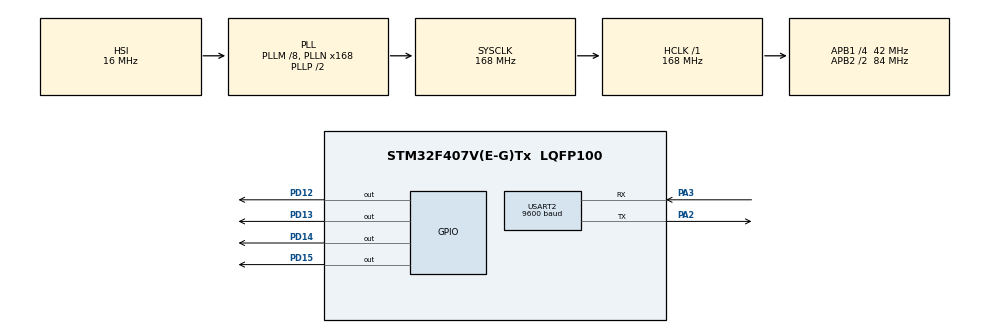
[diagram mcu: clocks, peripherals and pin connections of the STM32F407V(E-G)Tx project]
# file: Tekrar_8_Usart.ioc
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Mcu.Family=STM32F4
Mcu.Name=STM32F407V(E-G)Tx
Mcu.Package=LQFP100
NVIC.PriorityGroup=NVIC_PRIORITYGROUP_4
PA2.Mode=Asynchronous
PA2.Signal=USART2_TX
PA3.Mode=Asynchronous
PA3.Signal=USART2_RX
PD12.Signal=GPIO_Output
PD13.Signal=GPIO_Output
PD14.Signal=GPIO_Output
PD15.Signal=GPIO_Output
ProjectManager.HeapSize=0x200
ProjectManager.StackSize=0x400
ProjectManager.TargetToolchain=STM32CubeIDE
RCC.48MHZClocksFreq_Value=84000000
RCC.AHBFreq_Value=168000000
RCC.APB1CLKDivider=RCC_HCLK_DIV4
RCC.APB1Freq_Value=42000000
RCC.APB1TimFreq_Value=84000000
RCC.APB2CLKDivider=RCC_HCLK_DIV2
RCC.APB2Freq_Value=84000000
RCC.APB2TimFreq_Value=168000000
RCC.CortexFreq_Value=168000000
RCC.HCLKFreq_Value=168000000
RCC.HSE_VALUE=25000000
RCC.HSI_VALUE=16000000
RCC.LSE_VALUE=32768
RCC.PLLM=8
RCC.PLLN=168
RCC.SYSCLKFreq_VALUE=168000000
RCC.SYSCLKSource=RCC_SYSCLKSOURCE_PLLCLK
RCC.VCOOutputFreq_Value=336000000
USART2.BaudRate=9600
USART2.Mode=MODE_TX_RX
USART2.VirtualMode=VM_ASYNC
board=custom

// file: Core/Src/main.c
/* USER CODE BEGIN Header */
/**
  ******************************************************************************
  * @file           : main.c
  * @brief          : Main program body
  ******************************************************************************
  * @attention
  *
  * Copyright (c) 2023 STMicroelectronics.
  * All rights reserved.
  *
  * This software is licensed under terms that can be found in the LICENSE file
  * in the root directory of this software component.
  * If no LICENSE file comes with this software, it is provided AS-IS.
  *
  ******************************************************************************
  */
/* USER CODE END Header */
#include "main.h"

/* USER CODE BEGIN Includes */
#include <stdbool.h>
#include "string.h"
#include "stdio.h"  //sprintf icin lazim

/* USER CODE END Includes */

UART_HandleTypeDef huart2;

/* USER CODE BEGIN PV */

char tx_buff[50];
char rx_buff[50];
bool led_state=false;

/* USER CODE END PV */

void SystemClock_Config(void);
static void MX_GPIO_Init(void);
static void MX_USART2_UART_Init(void);

int main(void)
{

  /* MCU Configuration--------------------------------------------------------*/

  /* Reset of all peripherals, Initializes the Flash interface and the Systick. */
  HAL_Init();

  /* Configure the system clock */
  SystemClock_Config();

  /* Initialize all configured peripherals */
  MX_GPIO_Init();
  MX_USART2_UART_Init();
  /* USER CODE BEGIN 2 */

/*
  HAL_UART_Transmit(&huart2, (uint8_t*)tx_buff, sprintf(tx_buff, " ne yazsamki  \n "), 100);
  HAL_Delay(1000);
  HAL_UART_Transmit(&huart2, (uint8_t*)tx_buff, sprintf(tx_buff,"freddddddddddddd \n"), 100);
*/

  /* USER CODE END 2 */

  /* Infinite loop */
  while (1)
  {

    /* USER CODE BEGIN 3 */

	  HAL_UART_Receive(&huart2, (uint8_t*)rx_buff , 50, 100);
	  if(strncmp(rx_buff , "led12open", 9)==0)   //rx_buffer=led1open ise 0 verir
	  {
		  HAL_GPIO_WritePin(GPIOD, GPIO_PIN_12, GPIO_PIN_SET);

		  if ( led_state != true )
		  {
			  HAL_UART_Transmit(&huart2, (uint8_t*)tx_buff ,sprintf(tx_buff , "12.led yandi\n"), HAL_MAX_DELAY);
			  led_state=true;

		  }

	  }
	  else if(strncmp(rx_buff , "led12close" ,10)==0)
	         {
		       HAL_GPIO_WritePin(GPIOD, GPIO_PIN_12, GPIO_PIN_RESET);
		         if ( led_state != false )
		         {
		 			  HAL_UART_Transmit(&huart2, (uint8_t*)tx_buff ,sprintf(tx_buff , "12.led sondu\n"),HAL_MAX_DELAY );
		 			  led_state=false;

		         }
	         }

  else if(strncmp(rx_buff , "led13open",9 )==0)   //rx_buffer=led1open ise 0 verir
		  {
			  HAL_GPIO_WritePin(GPIOD, GPIO_PIN_13, GPIO_PIN_SET);

			  if ( led_state != true )
			  {
				  HAL_UART_Transmit(&huart2, (uint8_t*)tx_buff ,sprintf(tx_buff , "13.led yandi\n"), HAL_MAX_DELAY);
				  led_state=true;

			  }

		  }
		  else if(strncmp(rx_buff, "led13close" ,10) == 0)
		  {
			  HAL_GPIO_WritePin(GPIOD, GPIO_PIN_13, GPIO_PIN_RESET);
			  if ( led_state != false )
			  {
			 			  HAL_UART_Transmit(&huart2, (uint8_t*)tx_buff ,sprintf(tx_buff , "13.led sondu\n"), HAL_MAX_DELAY);
			 			  led_state=false;

			  }
	  }

  }
  /* USER CODE END 3 */
}

void SystemClock_Config(void)
{
  RCC_OscInitTypeDef RCC_OscInitStruct = {0};
  RCC_ClkInitTypeDef RCC_ClkInitStruct = {0};

  /** Configure the main internal regulator output voltage
  */
  __HAL_RCC_PWR_CLK_ENABLE();
  __HAL_PWR_VOLTAGESCALING_CONFIG(PWR_REGULATOR_VOLTAGE_SCALE1);

  /** Initializes the RCC Oscillators according to the specified parameters
  * in the RCC_OscInitTypeDef structure.
  */
  RCC_OscInitStruct.OscillatorType = RCC_OSCILLATORTYPE_HSI;
  RCC_OscInitStruct.HSIState = RCC_HSI_ON;
  RCC_OscInitStruct.HSICalibrationValue = RCC_HSICALIBRATION_DEFAULT;
  RCC_OscInitStruct.PLL.PLLState = RCC_PLL_ON;
  RCC_OscInitStruct.PLL.PLLSource = RCC_PLLSOURCE_HSI;
  RCC_OscInitStruct.PLL.PLLM = 8;
  RCC_OscInitStruct.PLL.PLLN = 168;
  RCC_OscInitStruct.PLL.PLLP = RCC_PLLP_DIV2;
  RCC_OscInitStruct.PLL.PLLQ = 4;
  if (HAL_RCC_OscConfig(&RCC_OscInitStruct) != HAL_OK)
  {
    Error_Handler();
  }

  /** Initializes the CPU, AHB and APB buses clocks
  */
  RCC_ClkInitStruct.ClockType = RCC_CLOCKTYPE_HCLK|RCC_CLOCKTYPE_SYSCLK
                              |RCC_CLOCKTYPE_PCLK1|RCC_CLOCKTYPE_PCLK2;
  RCC_ClkInitStruct.SYSCLKSource = RCC_SYSCLKSOURCE_PLLCLK;
  RCC_ClkInitStruct.AHBCLKDivider = RCC_SYSCLK_DIV1;
  RCC_ClkInitStruct.APB1CLKDivider = RCC_HCLK_DIV4;
  RCC_ClkInitStruct.APB2CLKDivider = RCC_HCLK_DIV2;

  if (HAL_RCC_ClockConfig(&RCC_ClkInitStruct, FLASH_LATENCY_5) != HAL_OK)
  {
    Error_Handler();
  }
}

static void MX_USART2_UART_Init(void)
{

  huart2.Instance = USART2;
  huart2.Init.BaudRate = 9600;
  huart2.Init.WordLength = UART_WORDLENGTH_8B;
  huart2.Init.StopBits = UART_STOPBITS_1;
  huart2.Init.Parity = UART_PARITY_NONE;
  huart2.Init.Mode = UART_MODE_TX_RX;
  huart2.Init.HwFlowCtl = UART_HWCONTROL_NONE;
  huart2.Init.OverSampling = UART_OVERSAMPLING_16;
  if (HAL_UART_Init(&huart2) != HAL_OK)
  {
    Error_Handler();
  }

}

static void MX_GPIO_Init(void)
{
  GPIO_InitTypeDef GPIO_InitStruct = {0};

  /* GPIO Ports Clock Enable */
  __HAL_RCC_GPIOA_CLK_ENABLE();
  __HAL_RCC_GPIOD_CLK_ENABLE();

  /*Configure GPIO pin Output Level */
  HAL_GPIO_WritePin(GPIOD, GPIO_PIN_12|GPIO_PIN_13|GPIO_PIN_14|GPIO_PIN_15, GPIO_PIN_RESET);

  /*Configure GPIO pins : PD12 PD13 PD14 PD15 */
  GPIO_InitStruct.Pin = GPIO_PIN_12|GPIO_PIN_13|GPIO_PIN_14|GPIO_PIN_15;
  GPIO_InitStruct.Mode = GPIO_MODE_OUTPUT_PP;
  GPIO_InitStruct.Pull = GPIO_NOPULL;
  GPIO_InitStruct.Speed = GPIO_SPEED_FREQ_LOW;
  HAL_GPIO_Init(GPIOD, &GPIO_InitStruct);

}

void Error_Handler(void)
{
  __disable_irq();
  while (1)
  {
  }
}
